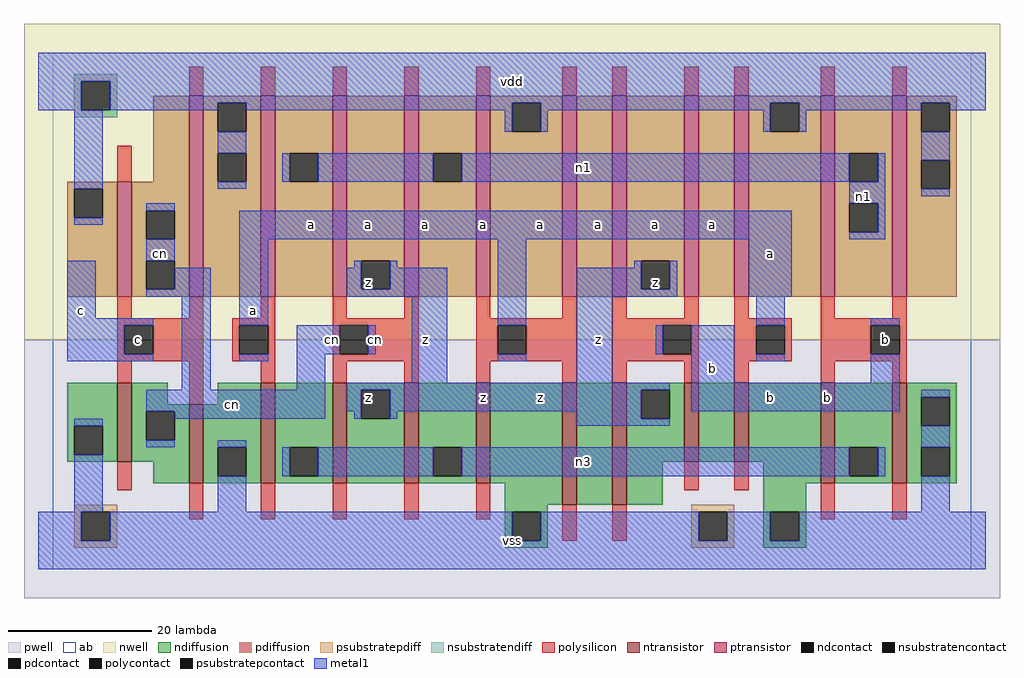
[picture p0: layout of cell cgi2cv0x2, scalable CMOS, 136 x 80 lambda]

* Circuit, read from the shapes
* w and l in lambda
.subckt cgi2cv0x2 a b c cn n1 n3 vdd vss z
M1 cn c vss vss nfet w=11 l=2 m=2
M2 n3 a vss vss nfet w=14 l=2 m=2
M3 z cn n3 vss nfet w=14 l=2 m=2
M4 n2 a vss vss nfet w=17 l=2
M5 z b n2 vss nfet w=17 l=2
M6 n4 b z vss nfet w=11 l=2
M7 vss a n4 vss nfet w=11 l=2
M8 n3 b vss vss nfet w=14 l=2 m=2
M9 cn c vdd vdd pfet w=16 l=2
M10 vdd c cn vdd pfet w=28 l=2
M11 n1 a vdd vdd pfet w=28 l=2 m=2
M12 z cn n1 vdd pfet w=28 l=2 m=2
M13 n5 a vdd vdd pfet w=28 l=2
M14 z b n5 vdd pfet w=28 l=2
M15 n6 b z vdd pfet w=28 l=2
M16 vdd a n6 vdd pfet w=28 l=2
M17 n1 b vdd vdd pfet w=28 l=2 m=2
.ends

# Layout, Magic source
magic
tech scmos
<< ab >>
rect 0 0 128 72
<< pwell >>
rect -4 -4 132 32
<< nwell >>
rect -4 32 132 76
<< polysilicon >>
rect 19 66 21 70
rect 29 66 31 70
rect 39 66 41 70
rect 49 66 51 70
rect 59 66 61 70
rect 71 66 73 70
rect 78 66 80 70
rect 88 66 90 70
rect 95 66 97 70
rect 107 66 109 70
rect 117 66 119 70
rect 9 54 11 59
rect 9 35 11 38
rect 19 35 21 38
rect 29 35 31 38
rect 9 34 21 35
rect 9 30 10 34
rect 14 30 21 34
rect 9 29 21 30
rect 25 34 31 35
rect 25 30 26 34
rect 30 30 31 34
rect 25 29 31 30
rect 9 26 11 29
rect 19 23 21 29
rect 29 26 31 29
rect 39 35 41 38
rect 49 35 51 38
rect 39 34 51 35
rect 39 30 40 34
rect 44 30 51 34
rect 39 29 51 30
rect 39 26 41 29
rect 49 26 51 29
rect 59 35 61 38
rect 71 35 73 38
rect 59 34 73 35
rect 59 30 62 34
rect 66 30 73 34
rect 59 29 73 30
rect 59 26 61 29
rect 71 26 73 29
rect 78 35 80 38
rect 88 35 90 38
rect 78 34 90 35
rect 78 30 85 34
rect 89 30 90 34
rect 78 29 90 30
rect 78 26 80 29
rect 88 26 90 29
rect 95 35 97 38
rect 107 35 109 38
rect 117 35 119 38
rect 95 34 103 35
rect 95 30 98 34
rect 102 30 103 34
rect 95 29 103 30
rect 107 34 119 35
rect 107 30 114 34
rect 118 30 119 34
rect 107 29 119 30
rect 95 26 97 29
rect 107 26 109 29
rect 117 26 119 29
rect 9 11 11 15
rect 19 7 21 12
rect 29 7 31 12
rect 39 7 41 12
rect 49 7 51 12
rect 59 7 61 12
rect 88 11 90 15
rect 95 11 97 15
rect 71 4 73 9
rect 78 4 80 9
rect 107 7 109 12
rect 117 7 119 12
<< ndiffusion >>
rect 2 20 9 26
rect 2 16 3 20
rect 7 16 9 20
rect 2 15 9 16
rect 11 23 16 26
rect 23 23 29 26
rect 11 22 19 23
rect 11 18 13 22
rect 17 18 19 22
rect 11 15 19 18
rect 14 12 19 15
rect 21 17 29 23
rect 21 13 23 17
rect 27 13 29 17
rect 21 12 29 13
rect 31 17 39 26
rect 31 13 33 17
rect 37 13 39 17
rect 31 12 39 13
rect 41 25 49 26
rect 41 21 43 25
rect 47 21 49 25
rect 41 12 49 21
rect 51 17 59 26
rect 51 13 53 17
rect 57 13 59 17
rect 51 12 59 13
rect 61 12 71 26
rect 63 9 71 12
rect 73 9 78 26
rect 80 25 88 26
rect 80 21 82 25
rect 86 21 88 25
rect 80 15 88 21
rect 90 15 95 26
rect 97 15 107 26
rect 80 9 85 15
rect 99 12 107 15
rect 109 17 117 26
rect 109 13 111 17
rect 115 13 117 17
rect 109 12 117 13
rect 119 24 126 26
rect 119 20 121 24
rect 125 20 126 24
rect 119 17 126 20
rect 119 13 121 17
rect 125 13 126 17
rect 119 12 126 13
rect 63 8 69 9
rect 63 4 64 8
rect 68 4 69 8
rect 63 3 69 4
rect 99 8 105 12
rect 99 4 100 8
rect 104 4 105 8
rect 99 3 105 4
<< pdiffusion >>
rect 14 54 19 66
rect 2 53 9 54
rect 2 49 3 53
rect 7 49 9 53
rect 2 38 9 49
rect 11 50 19 54
rect 11 46 13 50
rect 17 46 19 50
rect 11 43 19 46
rect 11 39 13 43
rect 17 39 19 43
rect 11 38 19 39
rect 21 65 29 66
rect 21 61 23 65
rect 27 61 29 65
rect 21 58 29 61
rect 21 54 23 58
rect 27 54 29 58
rect 21 38 29 54
rect 31 58 39 66
rect 31 54 33 58
rect 37 54 39 58
rect 31 38 39 54
rect 41 43 49 66
rect 41 39 43 43
rect 47 39 49 43
rect 41 38 49 39
rect 51 58 59 66
rect 51 54 53 58
rect 57 54 59 58
rect 51 38 59 54
rect 61 65 71 66
rect 61 61 64 65
rect 68 61 71 65
rect 61 38 71 61
rect 73 38 78 66
rect 80 43 88 66
rect 80 39 82 43
rect 86 39 88 43
rect 80 38 88 39
rect 90 38 95 66
rect 97 65 107 66
rect 97 61 100 65
rect 104 61 107 65
rect 97 38 107 61
rect 109 58 117 66
rect 109 54 111 58
rect 115 54 117 58
rect 109 51 117 54
rect 109 47 111 51
rect 115 47 117 51
rect 109 38 117 47
rect 119 65 126 66
rect 119 61 121 65
rect 125 61 126 65
rect 119 57 126 61
rect 119 53 121 57
rect 125 53 126 57
rect 119 38 126 53
<< metal1 >>
rect -2 68 130 72
rect -2 64 4 68
rect 8 65 130 68
rect 8 64 23 65
rect 3 53 7 64
rect 27 64 64 65
rect 63 61 64 64
rect 68 64 100 65
rect 68 61 69 64
rect 99 61 100 64
rect 104 64 121 65
rect 104 61 105 64
rect 125 64 130 65
rect 23 58 27 61
rect 32 54 33 58
rect 37 54 53 58
rect 57 54 111 58
rect 115 54 116 58
rect 23 53 27 54
rect 111 51 116 54
rect 121 57 125 61
rect 121 52 125 53
rect 3 48 7 49
rect 13 50 17 51
rect 13 43 17 46
rect 2 35 6 43
rect 26 46 103 50
rect 115 47 116 51
rect 111 46 116 47
rect 17 39 22 42
rect 13 38 22 39
rect 2 34 14 35
rect 2 30 10 34
rect 2 29 14 30
rect 18 25 22 38
rect 26 34 30 46
rect 42 42 43 43
rect 41 39 43 42
rect 47 42 48 43
rect 47 39 55 42
rect 41 38 55 39
rect 26 29 30 30
rect 34 30 40 34
rect 44 30 45 34
rect 34 25 38 30
rect 50 26 55 38
rect 62 34 66 46
rect 81 42 82 43
rect 62 29 66 30
rect 73 39 82 42
rect 86 39 87 43
rect 73 38 87 39
rect 97 38 103 46
rect 73 26 78 38
rect 98 34 102 38
rect 84 30 85 34
rect 89 26 95 34
rect 98 29 102 30
rect 114 34 118 35
rect 114 26 118 30
rect 13 22 38 25
rect 41 25 86 26
rect 41 22 43 25
rect 3 20 7 21
rect 17 21 38 22
rect 42 21 43 22
rect 47 22 82 25
rect 47 21 48 22
rect 73 21 82 22
rect 89 22 118 26
rect 121 24 125 25
rect 73 20 86 21
rect 13 17 17 18
rect 23 17 27 18
rect 121 17 125 20
rect 3 8 7 16
rect 32 13 33 17
rect 37 13 53 17
rect 57 13 111 17
rect 115 13 116 17
rect 23 8 27 13
rect 121 8 125 13
rect -2 4 4 8
rect 8 4 64 8
rect 68 4 90 8
rect 94 4 100 8
rect 104 4 130 8
rect -2 0 130 4
<< ntransistor >>
rect 9 15 11 26
rect 19 12 21 23
rect 29 12 31 26
rect 39 12 41 26
rect 49 12 51 26
rect 59 12 61 26
rect 71 9 73 26
rect 78 9 80 26
rect 88 15 90 26
rect 95 15 97 26
rect 107 12 109 26
rect 117 12 119 26
<< ptransistor >>
rect 9 38 11 54
rect 19 38 21 66
rect 29 38 31 66
rect 39 38 41 66
rect 49 38 51 66
rect 59 38 61 66
rect 71 38 73 66
rect 78 38 80 66
rect 88 38 90 66
rect 95 38 97 66
rect 107 38 109 66
rect 117 38 119 66
<< polycontact >>
rect 10 30 14 34
rect 26 30 30 34
rect 40 30 44 34
rect 62 30 66 34
rect 85 30 89 34
rect 98 30 102 34
rect 114 30 118 34
<< ndcontact >>
rect 3 16 7 20
rect 13 18 17 22
rect 23 13 27 17
rect 33 13 37 17
rect 43 21 47 25
rect 53 13 57 17
rect 82 21 86 25
rect 111 13 115 17
rect 121 20 125 24
rect 121 13 125 17
rect 64 4 68 8
rect 100 4 104 8
<< pdcontact >>
rect 3 49 7 53
rect 13 46 17 50
rect 13 39 17 43
rect 23 61 27 65
rect 23 54 27 58
rect 33 54 37 58
rect 43 39 47 43
rect 53 54 57 58
rect 64 61 68 65
rect 82 39 86 43
rect 100 61 104 65
rect 111 54 115 58
rect 111 47 115 51
rect 121 61 125 65
rect 121 53 125 57
<< psubstratepcontact >>
rect 4 4 8 8
rect 90 4 94 8
<< nsubstratencontact >>
rect 4 64 8 68
<< psubstratepdiff >>
rect 3 8 9 9
rect 3 4 4 8
rect 8 4 9 8
rect 3 3 9 4
rect 89 8 95 9
rect 89 4 90 8
rect 94 4 95 8
rect 89 3 95 4
<< nsubstratendiff >>
rect 3 68 9 69
rect 3 64 4 68
rect 8 64 9 68
rect 3 63 9 64
<< labels >>
rlabel polysilicon 45 32 45 32 6 cn
rlabel polycontact 12 32 12 32 6 c
rlabel metal1 4 36 4 36 6 c
rlabel metal1 15 44 15 44 6 cn
rlabel metal1 25 23 25 23 6 cn
rlabel ndcontact 44 24 44 24 6 z
rlabel metal1 39 32 39 32 6 cn
rlabel pdcontact 44 40 44 40 6 z
rlabel metal1 28 36 28 36 6 a
rlabel metal1 36 48 36 48 6 a
rlabel metal1 44 48 44 48 6 a
rlabel metal1 64 4 64 4 6 vss
rlabel metal1 60 24 60 24 6 z
rlabel metal1 68 24 68 24 6 z
rlabel metal1 52 32 52 32 6 z
rlabel metal1 52 48 52 48 6 a
rlabel metal1 60 48 60 48 6 a
rlabel metal1 68 48 68 48 6 a
rlabel metal1 64 68 64 68 6 vdd
rlabel metal1 100 24 100 24 6 b
rlabel metal1 92 28 92 28 6 b
rlabel metal1 76 32 76 32 6 z
rlabel pdcontact 84 40 84 40 6 z
rlabel metal1 100 44 100 44 6 a
rlabel metal1 76 48 76 48 6 a
rlabel metal1 84 48 84 48 6 a
rlabel metal1 92 48 92 48 6 a
rlabel metal1 74 15 74 15 6 n3
rlabel metal1 108 24 108 24 6 b
rlabel polycontact 116 32 116 32 6 b
rlabel metal1 113 52 113 52 6 n1
rlabel metal1 74 56 74 56 6 n1
<< end >>
